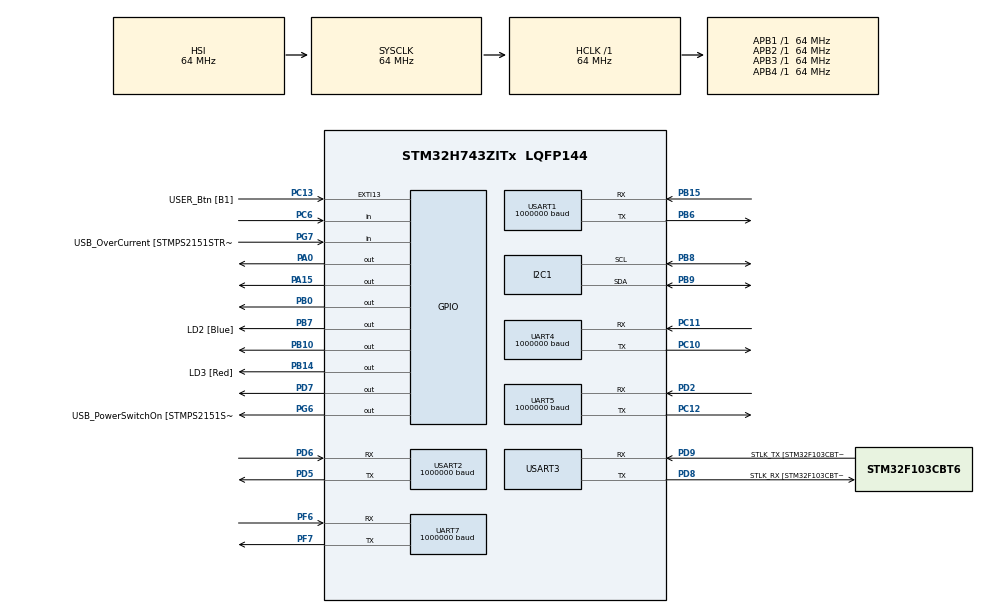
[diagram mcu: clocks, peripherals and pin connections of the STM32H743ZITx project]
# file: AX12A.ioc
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Mcu.Family=STM32H7
Mcu.Name=STM32H743ZITx
Mcu.Package=LQFP144
NVIC.PriorityGroup=NVIC_PRIORITYGROUP_4
PA0-WKUP.GPIO_Speed=GPIO_SPEED_FREQ_VERY_HIGH
PA0-WKUP.PinState=GPIO_PIN_SET
PA0-WKUP.Signal=GPIO_Output
PA10.GPIO_Label=USB_ID
PA10.Signal=USB_OTG_FS_ID
PA11.GPIO_Label=USB_DM
PA11.Signal=USB_OTG_FS_DM
PA12.GPIO_Label=USB_DP
PA12.Signal=USB_OTG_FS_DP
PA13.GPIO_Label=TMS
PA13.Mode=Trace_Asynchronous_SW
PA13.Signal=SYS_JTMS-SWDIO
PA14.GPIO_Label=TCK
PA14.Mode=Trace_Asynchronous_SW
PA14.Signal=SYS_JTCK-SWCLK
PA15.GPIO_Speed=GPIO_SPEED_FREQ_VERY_HIGH
PA15.PinState=GPIO_PIN_SET
PA15.Signal=GPIO_Output
PA8.GPIO_Label=USB_SOF [TP1]
PA8.Signal=USB_OTG_FS_SOF
PA9.GPIO_Label=USB_VBUS
PA9.Signal=USB_OTG_FS_VBUS
PB0.GPIO_Speed=GPIO_SPEED_FREQ_VERY_HIGH
PB0.Signal=GPIO_Output
PB10.GPIO_Speed=GPIO_SPEED_FREQ_VERY_HIGH
PB10.Signal=GPIO_Output
PB14.GPIO_Label=LD3 [Red]
PB14.Signal=GPIO_Output
PB15.Mode=Asynchronous
PB15.Signal=USART1_RX
PB3.GPIO_Label=SWO
PB3.Mode=Trace_Asynchronous_SW
PB3.Signal=SYS_JTDO-SWO
PB6.Mode=Asynchronous
PB6.Signal=USART1_TX
PB7.GPIO_Label=LD2 [Blue]
PB7.Signal=GPIO_Output
PB8.Mode=I2C
PB8.Signal=I2C1_SCL
PB9.Mode=I2C
PB9.Signal=I2C1_SDA
PC10.Mode=Asynchronous
PC10.Signal=UART4_TX
PC11.Mode=Asynchronous
PC11.Signal=UART4_RX
PC12.Mode=Asynchronous
PC12.Signal=UART5_TX
PC13.GPIO_Label=USER_Btn [B1]
PC13.Signal=GPXTI13
PC14-OSC32_IN.Signal=RCC_OSC32_IN
PC15-OSC32_OUT.Signal=RCC_OSC32_OUT
PC6.Signal=GPIO_Input
PD2.Mode=Asynchronous
PD2.Signal=UART5_RX
PD5.Mode=Asynchronous
PD5.Signal=USART2_TX
PD6.Mode=Asynchronous
PD6.Signal=USART2_RX
PD7.GPIO_Speed=GPIO_SPEED_FREQ_VERY_HIGH
PD7.Signal=GPIO_Output
PD8.GPIO_Label=STLK_RX [STM32F103CBT6_PA3]
PD8.Mode=Asynchronous
PD8.Signal=USART3_TX
PD9.GPIO_Label=STLK_TX [STM32F103CBT6_PA2]
PD9.Mode=Asynchronous
PD9.Signal=USART3_RX
PF6.Mode=Asynchronous
PF6.Signal=UART7_RX
PF7.Mode=Asynchronous
PF7.Signal=UART7_TX
PG6.GPIO_Label=USB_PowerSwitchOn [STMPS2151STR_EN]
PG6.Signal=GPIO_Output
PG7.GPIO_Label=USB_OverCurrent [STMPS2151STR_FAULT]
PG7.Signal=GPIO_Input
PH0-OSC_IN.GPIO_Label=MCO
PH0-OSC_IN.Signal=RCC_OSC_IN
PH1-OSC_OUT.Signal=RCC_OSC_OUT
ProjectManager.HeapSize=0x200
ProjectManager.StackSize=0x400
ProjectManager.TargetToolchain=SW4STM32
RCC.48MHZClocksFreq_Value=24000000
RCC.ADCFreq_Value=129000000
RCC.AHBFreq_Value=16000000
RCC.APB1CLKDivider=RCC_HCLK_DIV2
RCC.APB1Freq_Value=64000000
RCC.APB1TimFreq_Value=16000000
RCC.APB2Freq_Value=64000000
RCC.APB2TimFreq_Value=16000000
RCC.APB3Freq_Value=64000000
RCC.APB4Freq_Value=64000000
RCC.CortexFreq_Value=64000000
RCC.HCLKFreq_Value=64000000
RCC.HSE_VALUE=25000000
RCC.HSI_VALUE=64000000
RCC.LSE_VALUE=32768
RCC.PLLMUL=RCC_PLL_MUL9
RCC.PRESCALERUSB=RCC_USBCLKSOURCE_PLL_DIV1_5
RCC.SYSCLKFreq_VALUE=64000000
RCC.SYSCLKSourceVirtual=RCC_SYSCLKSOURCE_PLLCLK
RCC.USBFreq_Value=129000000
RCC.VCOOutputFreq_Value=192000000
UART4.BaudRate=1000000
UART4.WordLength=WORDLENGTH_8B
UART5.BaudRate=1000000
UART5.WordLength=WORDLENGTH_8B
UART7.BaudRate=1000000
UART7.WordLength=WORDLENGTH_8B
USART1.BaudRate=1000000
USART1.VirtualMode-Asynchronous=VM_ASYNC
USART1.WordLength=WORDLENGTH_8B
USART2.BaudRate=1000000
USART2.VirtualMode-Asynchronous=VM_ASYNC
USART2.WordLength=WORDLENGTH_8B
USART3.VirtualMode-Asynchronous=VM_ASYNC
USART3.WordLength=WORDLENGTH_8B
board=NUCLEO-H743ZI

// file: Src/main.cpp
/**
  ******************************************************************************
  * @file           : main.cpp
  * @brief          : Main program body
  ******************************************************************************
  ** This notice applies to any and all portions of this file
  * that are not between comment pairs USER CODE BEGIN and
  * USER CODE END. Other portions of this file, whether
  * inserted by the user or by software development tools
  * are owned by their respective copyright owners.
  *
  * COPYRIGHT(c) 2018 STMicroelectronics
  *
  * Redistribution and use in source and binary forms, with or without modification,
  * are permitted provided that the following conditions are met:
  *   1. Redistributions of source code must retain the above copyright notice,
  *      this list of conditions and the following disclaimer.
  *   2. Redistributions in binary form must reproduce the above copyright notice,
  *      this list of conditions and the following disclaimer in the documentation
  *      and/or other materials provided with the distribution.
  *   3. Neither the name of STMicroelectronics nor the names of its contributors
  *      may be used to endorse or promote products derived from this software
  *      without specific prior written permission.
  *
  * THIS SOFTWARE IS PROVIDED BY THE COPYRIGHT HOLDERS AND CONTRIBUTORS "AS IS"
  * AND ANY EXPRESS OR IMPLIED WARRANTIES, INCLUDING, BUT NOT LIMITED TO, THE
  * IMPLIED WARRANTIES OF MERCHANTABILITY AND FITNESS FOR A PARTICULAR PURPOSE ARE
  * DISCLAIMED. IN NO EVENT SHALL THE COPYRIGHT HOLDER OR CONTRIBUTORS BE LIABLE
  * FOR ANY DIRECT, INDIRECT, INCIDENTAL, SPECIAL, EXEMPLARY, OR CONSEQUENTIAL
  * DAMAGES (INCLUDING, BUT NOT LIMITED TO, PROCUREMENT OF SUBSTITUTE GOODS OR
  * SERVICES; LOSS OF USE, DATA, OR PROFITS; OR BUSINESS INTERRUPTION) HOWEVER
  * CAUSED AND ON ANY THEORY OF LIABILITY, WHETHER IN CONTRACT, STRICT LIABILITY,
  * OR TORT (INCLUDING NEGLIGENCE OR OTHERWISE) ARISING IN ANY WAY OUT OF THE USE
  * OF THIS SOFTWARE, EVEN IF ADVISED OF THE POSSIBILITY OF SUCH DAMAGE.
  *
  ******************************************************************************
  */
#include "main.h"
#include "stm32h7xx_hal.h"
#include "i2c.h"
#include "usart.h"
#include "gpio.h"

/* USER CODE BEGIN Includes */
/* Motor driver. */
#include <math.h>
//#include "../../../../../control/soccer-control/PID.h"  // Control routines & helpers
//#include "../../../../../control/soccer-control/rtwtypes.h"  // Type definitions from auto-gen code
//#include "../../../../soccer-control/angles.h"  // Joint trajectories

#include "MotorManager/MotorManager.h"
#include "Dynamixel/Dynamixel.h"
#include "AX12A/AX12A.h"

/* Other */
#include <stdio.h>

/* USER CODE END Includes */

/* USER CODE BEGIN PV */
/* Private variables ---------------------------------------------------------*/
const int DIM = 16;
const int SIZE = 400;
const double MOTORANGLES[14][400] = {0};

const double PI = M_PI; // From math.h

/* USER CODE END PV */

void SystemClock_Config(void);

/* USER CODE BEGIN PFP */
/* Private function prototypes -----------------------------------------------*/

/* USER CODE END PFP */

int main(void)
{

  /* MCU Configuration----------------------------------------------------------*/

  /* Reset of all peripherals, Initializes the Flash interface and the Systick. */
  HAL_Init();

  /* Configure the system clock */
  SystemClock_Config();

  /* Initialize all configured peripherals */
  MX_GPIO_Init();
  MX_UART7_Init();
  MX_UART4_Init();
  MX_USART1_UART_Init();
  MX_USART2_UART_Init();
  MX_UART5_Init();
  MX_I2C1_Init();
  MX_USART3_UART_Init();

  /* USER CODE BEGIN 2 */
  MotorManager* motorManager = new MotorManager();

  for(int motor = MOTOR1; motor <= MOTOR12; motor++){
	  AX12A* motorPtr = (AX12A*)(motorManager -> motorTable[motor]);
	  motorPtr -> Init();
	  motorPtr -> setGoalVelocity(100);
	  motorPtr -> setComplianceSlope(4);
  }

  std::vector<Dynamixel*> motors = motorManager -> motorTable;
  /* USER CODE END 2 */

  /* Infinite loop */
  /* USER CODE BEGIN WHILE */
//  motors[0] -> setLEDEnable(1);
//  while(1);
  while (1){
  /* USER CODE END WHILE */

  /* USER CODE BEGIN 3 */

	  for(int j = 0; j < SIZE; j ++){
		  for(int motor = MOTOR1; motor <= MOTOR12; motor++){
			  // NB: motor begins at 0 (i.e. MOTOR1 corresponds to the motor at index 0 of the table)
			  motors[motor] -> setGoalPosition(MOTORANGLES[motor][j] *
											   motorCalibrationConstants[motor].m +
											   motorCalibrationConstants[motor].a
											   );
		  }
		  HAL_Delay(10); // Default from Lukas: 10
	  }
  }
  /* USER CODE END 3 */

}

void SystemClock_Config(void)
{

  RCC_OscInitTypeDef RCC_OscInitStruct;
  RCC_ClkInitTypeDef RCC_ClkInitStruct;
  RCC_PeriphCLKInitTypeDef PeriphClkInitStruct;

    /**Supply configuration update enable
    */
  MODIFY_REG(PWR->CR3, PWR_CR3_SCUEN, 0);

    /**Configure the main internal regulator output voltage
    */
  __HAL_PWR_VOLTAGESCALING_CONFIG(PWR_REGULATOR_VOLTAGE_SCALE1);

  while ((PWR->D3CR & (PWR_D3CR_VOSRDY)) != PWR_D3CR_VOSRDY)
  {

  }
    /**Initializes the CPU, AHB and APB busses clocks
    */
  RCC_OscInitStruct.OscillatorType = RCC_OSCILLATORTYPE_HSI;
  RCC_OscInitStruct.HSIState = RCC_HSI_DIV1;
  RCC_OscInitStruct.HSICalibrationValue = 16;
  RCC_OscInitStruct.PLL.PLLState = RCC_PLL_NONE;
  if (HAL_RCC_OscConfig(&RCC_OscInitStruct) != HAL_OK)
  {
    _Error_Handler(__FILE__, __LINE__);
  }

    /**Initializes the CPU, AHB and APB busses clocks
    */
  RCC_ClkInitStruct.ClockType = RCC_CLOCKTYPE_HCLK|RCC_CLOCKTYPE_SYSCLK
                              |RCC_CLOCKTYPE_PCLK1|RCC_CLOCKTYPE_PCLK2
                              |RCC_CLOCKTYPE_D3PCLK1|RCC_CLOCKTYPE_D1PCLK1;
  RCC_ClkInitStruct.SYSCLKSource = RCC_SYSCLKSOURCE_HSI;
  RCC_ClkInitStruct.SYSCLKDivider = RCC_SYSCLK_DIV1;
  RCC_ClkInitStruct.AHBCLKDivider = RCC_HCLK_DIV1;
  RCC_ClkInitStruct.APB3CLKDivider = RCC_APB3_DIV1;
  RCC_ClkInitStruct.APB1CLKDivider = RCC_APB1_DIV1;
  RCC_ClkInitStruct.APB2CLKDivider = RCC_APB2_DIV1;
  RCC_ClkInitStruct.APB4CLKDivider = RCC_APB4_DIV1;

  if (HAL_RCC_ClockConfig(&RCC_ClkInitStruct, FLASH_LATENCY_0) != HAL_OK)
  {
    _Error_Handler(__FILE__, __LINE__);
  }

  PeriphClkInitStruct.PeriphClockSelection = RCC_PERIPHCLK_USART3|RCC_PERIPHCLK_USART2
                              |RCC_PERIPHCLK_UART4|RCC_PERIPHCLK_UART7
                              |RCC_PERIPHCLK_USART1|RCC_PERIPHCLK_UART5
                              |RCC_PERIPHCLK_I2C1;
  PeriphClkInitStruct.Usart234578ClockSelection = RCC_USART234578CLKSOURCE_D2PCLK1;
  PeriphClkInitStruct.Usart16ClockSelection = RCC_USART16CLKSOURCE_D2PCLK2;
  PeriphClkInitStruct.I2c123ClockSelection = RCC_I2C123CLKSOURCE_D2PCLK1;
  if (HAL_RCCEx_PeriphCLKConfig(&PeriphClkInitStruct) != HAL_OK)
  {
    _Error_Handler(__FILE__, __LINE__);
  }

    /**Configure the Systick interrupt time
    */
  HAL_SYSTICK_Config(SystemCoreClock/1000);

    /**Configure the Systick
    */
  HAL_SYSTICK_CLKSourceConfig(SYSTICK_CLKSOURCE_HCLK);

  /* SysTick_IRQn interrupt configuration */
  HAL_NVIC_SetPriority(SysTick_IRQn, 0, 0);
}

void _Error_Handler(char *file, int line)
{
  while(1)
  {
  }
}

/************************ (C) COPYRIGHT STMicroelectronics *****END OF FILE****/
